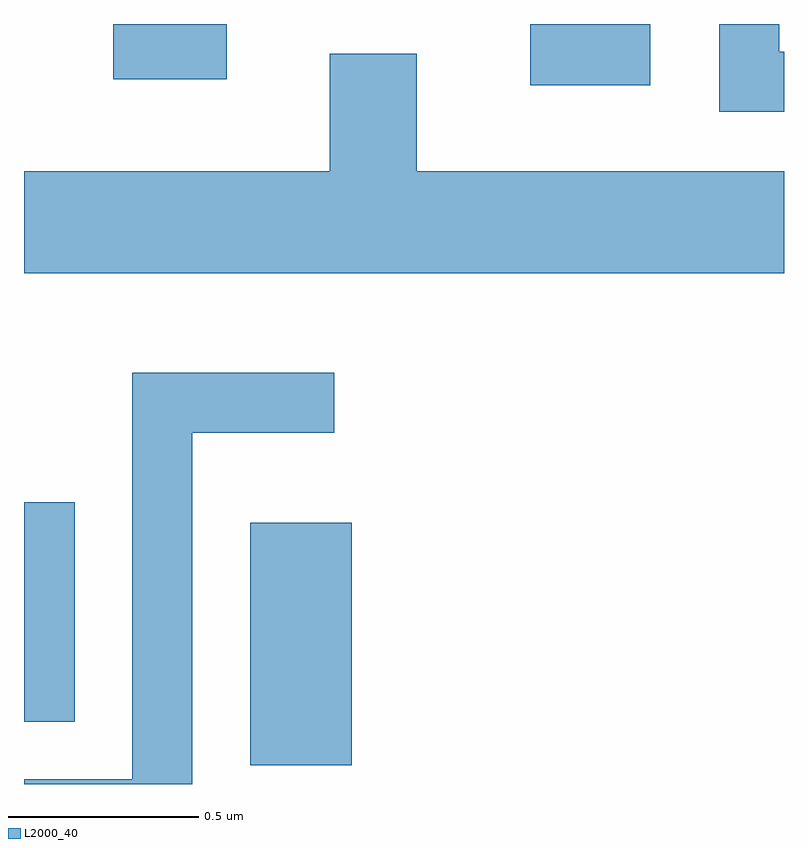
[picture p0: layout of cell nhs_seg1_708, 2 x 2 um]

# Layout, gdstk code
import gdstk
lib = gdstk.Library(unit=1e-6, precision=1e-09)
def R(c, l, rs):  # rectangles x0, y0, x1, y1
    for r in rs: c.add(gdstk.rectangle(r[:2], r[2:], *l))
def P(c, l, *ps):  # polygons
    for p in ps: c.add(gdstk.Polygon(p, *l))
L2000_40 = (2000, 40)

nhs_seg1_708 = lib.new_cell('nhs_seg1_708')
R(nhs_seg1_708, L2000_40, [(191.206,862.761,191.474,863.399), (190.611,862.876,190.744,863.454), (191.943,864.551,192.259,864.712), (190.846,864.566,191.144,864.712)])
P(nhs_seg1_708, L2000_40, [(192.611,864.639),(192.599,864.639),(192.599,864.712),(192.441,864.712),(192.441,864.481),(192.611,864.481)],
  [(192.611,864.324),(191.644,864.324),(191.644,864.634),(191.416,864.634),(191.416,864.324),(190.611,864.324),(190.611,864.056),(192.611,864.056)],
  [(191.054,863.636),(191.428,863.636),(191.428,863.794),(190.896,863.794),(190.896,862.724),(190.611,862.724),(190.611,862.712),(191.054,862.712)])

lib.write_gds('nhs_seg1_708.gds')
